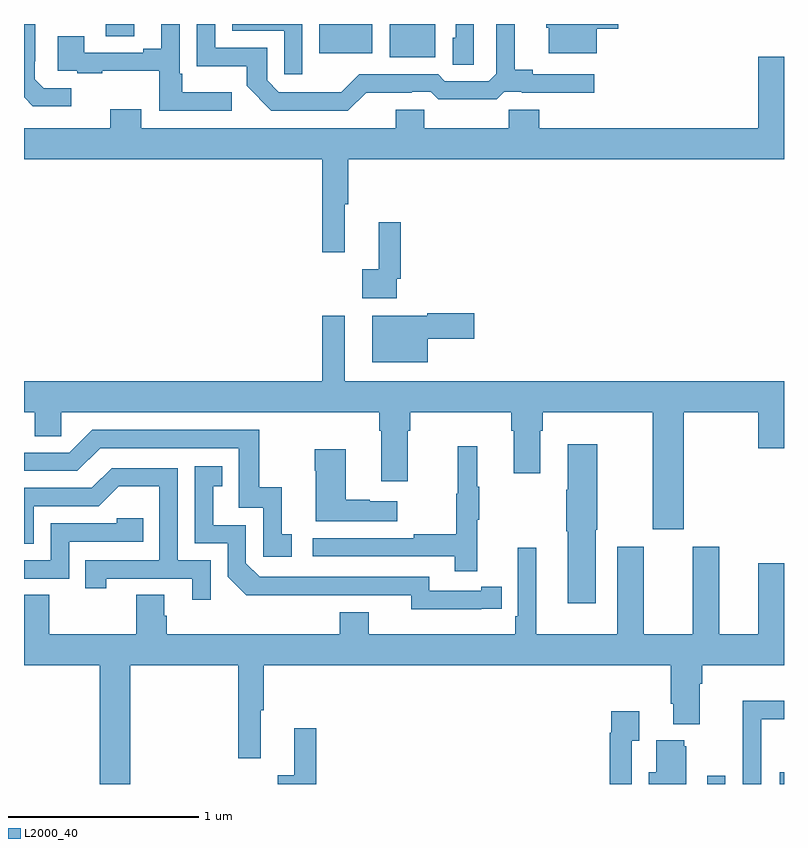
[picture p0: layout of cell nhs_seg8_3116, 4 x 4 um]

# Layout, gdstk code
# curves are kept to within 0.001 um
import gdstk
lib = gdstk.Library(unit=1e-6, precision=1e-09)
def R(c, l, rs):  # rectangles x0, y0, x1, y1
    for r in rs: c.add(gdstk.rectangle(r[:2], r[2:], *l))
def P(c, l, *ps):  # polygons
    for p in ps: c.add(gdstk.Polygon(p, *l))
L2000_40 = (2000, 40)

nhs_seg8_3116 = lib.new_cell('nhs_seg8_3116')
R(nhs_seg8_3116, L2000_40, [(308.595,1091.9,308.691,1091.944), (308.978,1091.9,309,1091.962), (306.926,1095.725,307.165,1095.9), (306.554,1095.746,306.832,1095.9), (305.429,1095.835,305.581,1095.9)])
P(nhs_seg8_3116, L2000_40, [(306.094,1095.541),(305.833,1095.541),(305.833,1095.637),(305.82,1095.637),(305.82,1095.9),(305.723,1095.9),(305.723,1095.769),(305.627,1095.769),(305.627,1095.75),(305.317,1095.75),(305.317,1095.835),(305.177,1095.835),(305.177,1095.654),(305.281,1095.654),(305.281,1095.642),(305.413,1095.642),(305.413,1095.653),(305.712,1095.653),(305.712,1095.444),(306.094,1095.444)],
  [(306.465,1095.9),(306.096,1095.9),(306.096,1095.864),(306.369,1095.864),(306.369,1095.636),(306.465,1095.636)],
  [(307.368,1095.9),(307.272,1095.9),(307.272,1095.828),(307.256,1095.828),(307.256,1095.685),(307.368,1095.685)],
  [(308.014,1095.875),(308.128,1095.875),(308.128,1095.9),(307.748,1095.9),(307.748,1095.879),(307.763,1095.879),(307.763,1095.746),(308.014,1095.746)],
  [(306.8,1095.539),(307.04,1095.539),(307.04,1095.543),(307.14,1095.543),(307.18,1095.504),(307.487,1095.504),(307.527,1095.543),(307.621,1095.543),(307.621,1095.539),(308.002,1095.539),(308.002,1095.636),(307.678,1095.636),(307.678,1095.659),(307.582,1095.659),(307.582,1095.9),(307.485,1095.9),(307.485,1095.639),(307.446,1095.6),(307.215,1095.6),(307.179,1095.636),(306.765,1095.636),(306.671,1095.542),(306.566,1095.542),(306.566,1095.54),(306.342,1095.54),(306.279,1095.603),(306.279,1095.774),(306.006,1095.774),(306.006,1095.9),(305.91,1095.9),(305.91,1095.677),(306.172,1095.677),(306.172,1095.575),(306.302,1095.444),(306.705,1095.444)],
  [(305.248,1095.561),(305.103,1095.561),(305.056,1095.608),(305.056,1095.703),(305.058,1095.703),(305.058,1095.9),(305,1095.9),(305,1095.514),(305.047,1095.467),(305.248,1095.467)],
  [(306.689,1094.952),(306.707,1094.952),(306.707,1095.188),(309,1095.188),(309,1095.727),(308.864,1095.727),(308.864,1095.352),(307.712,1095.352),(307.712,1095.45),(307.552,1095.45),(307.552,1095.352),(307.107,1095.352),(307.107,1095.45),(306.956,1095.45),(306.956,1095.352),(305.617,1095.352),(305.617,1095.451),(305.453,1095.451),(305.453,1095.352),(305,1095.352),(305,1095.188),(306.571,1095.188),(306.571,1094.7),(306.689,1094.7)],
  [(306.963,1094.56),(306.983,1094.56),(306.983,1094.857),(306.866,1094.857),(306.866,1094.609),(306.78,1094.609),(306.78,1094.456),(306.963,1094.456)],
  [(307.126,1094.243),(307.369,1094.243),(307.369,1094.378),(307.122,1094.378),(307.122,1094.365),(306.833,1094.365),(306.833,1094.12),(307.126,1094.12)],
  [(306.688,1094.365),(306.571,1094.365),(306.571,1094.02),(305,1094.02),(305,1093.856),(305.057,1093.856),(305.057,1093.729),(305.196,1093.729),(305.196,1093.856),(306.869,1093.856),(306.869,1093.76),(306.881,1093.76),(306.881,1093.494),(307.021,1093.494),(307.021,1093.76),(307.034,1093.76),(307.034,1093.856),(307.565,1093.856),(307.565,1093.76),(307.577,1093.76),(307.577,1093.536),(307.717,1093.536),(307.717,1093.76),(307.73,1093.76),(307.73,1093.856),(308.309,1093.856),(308.309,1093.242),(308.473,1093.242),(308.473,1093.856),(308.864,1093.856),(308.864,1093.668),(309,1093.668),(309,1094.02),(306.688,1094.02)],
  [(306.409,1093.215),(306.356,1093.215),(306.356,1093.462),(306.238,1093.462),(306.238,1093.764),(305.358,1093.764),(305.238,1093.644),(305,1093.644),(305,1093.548),(305.28,1093.548),(305.4,1093.668),(306.129,1093.668),(306.129,1093.353),(306.258,1093.353),(306.258,1093.095),(306.409,1093.095)],
  [(308.008,1093.237),(308.016,1093.237),(308.016,1093.687),(307.862,1093.687),(307.862,1093.448),(307.855,1093.448),(307.855,1093.231),(307.862,1093.231),(307.862,1092.852),(308.008,1092.852)],
  [(307.385,1093.291),(307.396,1093.291),(307.396,1093.465),(307.385,1093.465),(307.385,1093.678),(307.282,1093.678),(307.282,1093.428),(307.275,1093.428),(307.275,1093.214),(307.051,1093.214),(307.051,1093.194),(306.519,1093.194),(306.519,1093.098),(307.267,1093.098),(307.267,1093.02),(307.385,1093.02)],
  [(306.964,1093.387),(306.821,1093.387),(306.821,1093.397),(306.694,1093.397),(306.694,1093.663),(306.529,1093.663),(306.529,1093.55),(306.536,1093.55),(306.536,1093.283),(306.964,1093.283)],
  [(307.406,1092.822),(307.514,1092.822),(307.514,1092.938),(307.406,1092.938),(307.406,1092.918),(307.134,1092.918),(307.134,1092.99),(306.24,1092.99),(306.168,1093.062),(306.168,1093.263),(305.995,1093.263),(305.995,1093.467),(306.044,1093.467),(306.044,1093.573),(305.898,1093.573),(305.898,1093.167),(306.072,1093.167),(306.072,1092.99),(306.17,1092.893),(307.038,1092.894),(307.038,1092.821)],
  [(305.982,1093.077),(305.808,1093.077),(305.808,1093.563),(305.462,1093.563),(305.357,1093.458),(305,1093.458),(305,1093.164),(305.052,1093.164),(305.052,1093.362),(305.394,1093.362),(305.498,1093.466),(305.712,1093.466),(305.712,1093.077),(305.323,1093.077),(305.323,1092.93),(305.434,1092.93),(305.434,1092.981),(305.885,1092.981),(305.885,1092.87),(305.982,1092.87)],
  [(305.238,1093.176),(305.627,1093.176),(305.627,1093.299),(305.487,1093.299),(305.487,1093.272),(305.142,1093.272),(305.142,1093.077),(305,1093.077),(305,1092.981),(305.238,1092.981)],
  [(305.558,1092.524),(306.127,1092.524),(306.127,1092.036),(306.245,1092.036),(306.245,1092.288),(306.263,1092.288),(306.263,1092.524),(308.405,1092.524),(308.405,1092.322),(308.417,1092.322),(308.417,1092.215),(308.557,1092.215),(308.557,1092.428),(308.57,1092.428),(308.57,1092.524),(309,1092.524),(309,1093.063),(308.864,1093.063),(308.864,1092.688),(308.659,1092.688),(308.659,1093.15),(308.519,1093.15),(308.519,1092.688),(308.263,1092.688),(308.263,1093.15),(308.123,1093.15),(308.123,1092.688),(307.696,1092.688),(307.696,1093.144),(307.599,1093.144),(307.599,1092.784),(307.586,1092.784),(307.586,1092.688),(306.814,1092.688),(306.814,1092.805),(306.662,1092.805),(306.662,1092.688),(305.75,1092.688),(305.75,1092.786),(305.737,1092.786),(305.737,1092.896),(305.59,1092.896),(305.59,1092.688),(305.133,1092.688),(305.133,1092.896),(305,1092.896),(305,1092.524),(305.398,1092.524),(305.398,1091.9),(305.558,1091.9)],
  [(308.88,1091.986),(308.881,1091.986),(308.881,1092.24),(309,1092.24),(309,1092.338),(308.782,1092.338),(308.782,1092.031),(308.784,1092.031),(308.784,1091.9),(308.88,1091.9)],
  [(308.199,1092.127),(308.239,1092.127),(308.239,1092.283),(308.091,1092.283),(308.091,1092.17),(308.083,1092.17),(308.083,1091.9),(308.199,1091.9)],
  [(306.539,1092.193),(306.422,1092.193),(306.422,1091.945),(306.336,1091.945),(306.336,1091.9),(306.539,1091.9)],
  [(308.485,1092.099),(308.474,1092.099),(308.474,1092.13),(308.327,1092.13),(308.327,1091.962),(308.288,1091.962),(308.288,1091.9),(308.485,1091.9)])

lib.write_gds('nhs_seg8_3116.gds')
